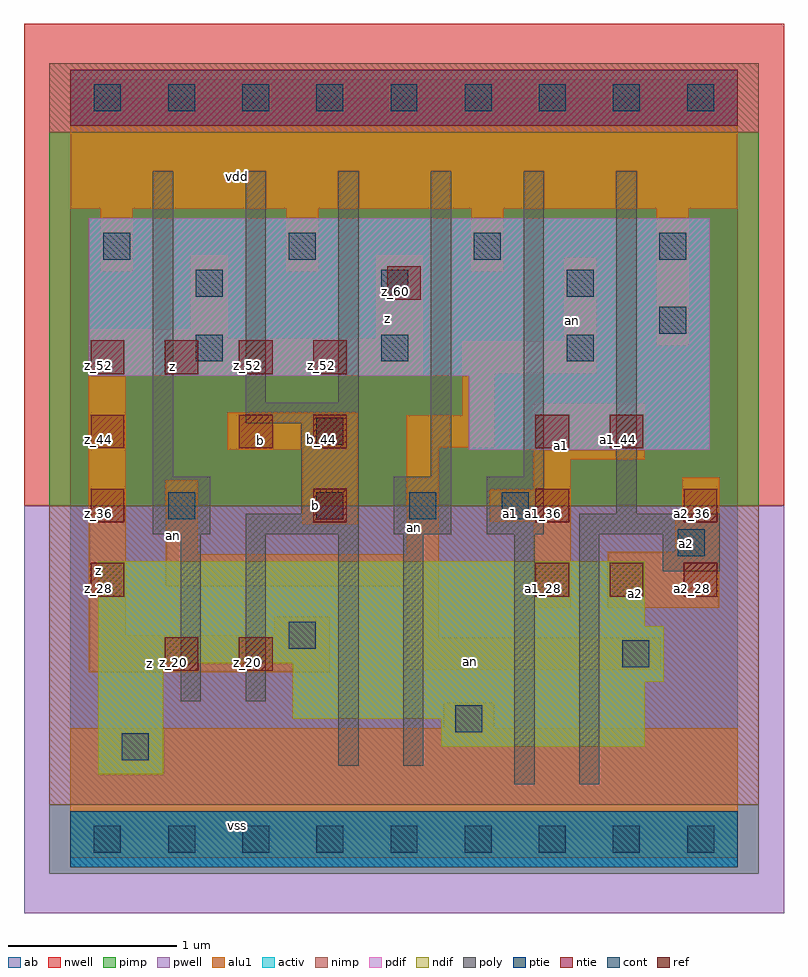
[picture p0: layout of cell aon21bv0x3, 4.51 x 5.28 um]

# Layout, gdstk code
import gdstk
lib = gdstk.Library(unit=1e-6, precision=2.5e-09)
def R(c, l, rs):  # rectangles x0, y0, x1, y1
    for r in rs: c.add(gdstk.rectangle(r[:2], r[2:], *l))
def A(c, l, x, y, w, h, nx, ny, dx, dy):  # array of equal rectangles
    R(c, l, [(x+i*dx, y+j*dy, x+i*dx+w, y+j*dy+h) for i in range(nx) for j in range(ny)])
ndif = (3, 0)
pdif = (4, 0)
ntie = (5, 0)
ptie = (6, 0)
ref = (24, 0)
cont = (25, 0)
pwell = (41, 0)
nwell = (42, 0)
activ = (43, 0)
pimp = (44, 0)
nimp = (45, 0)
poly = (46, 0)
alu1 = (49, 0)
ab = (63, 0)

aon21bv0x3 = lib.new_cell('aon21bv0x3')
R(aon21bv0x3, ndif, [(0.165,0.385,0.55,1.045), (2.2,0.55,3.41,0.715), (1.32,0.715,3.41,0.935), (1.32,0.935,3.52,1.045), (0.165,1.045,3.52,1.265), (0.165,1.265,3.41,1.65)])
R(aon21bv0x3, pdif, [(2.365,2.31,3.795,2.75), (0.11,2.75,3.795,3.685)])
R(aon21bv0x3, ntie, [(0,4.235,3.96,4.565)])
R(aon21bv0x3, ptie, [(0,-0.165,3.96,0.165)])
A(aon21bv0x3, ref, 2.76, 1.44, 0.2, 0.2, 3, 1, 0.44, 0)
A(aon21bv0x3, ref, 0.12, 1.88, 0.2, 0.2, 3, 1, 1.32, 0)
A(aon21bv0x3, ref, 0.12, 2.76, 0.2, 0.2, 4, 1, 0.44, 0)
R(aon21bv0x3, ref, [(0.56,1,0.76,1.2), (1,1,1.2,1.2), (0.12,1.44,0.32,1.64), (3.64,1.88,3.84,2.08), (0.12,2.32,0.32,2.52), (1,2.32,1.2,2.52), (1.44,2.32,1.64,2.52), (2.76,2.32,2.96,2.52), (3.2,2.32,3.4,2.52), (1.88,3.2,2.08,3.4)])
A(aon21bv0x3, cont, 0.14, -0.08, 0.16, 0.16, 9, 2, 0.44, 4.4)
A(aon21bv0x3, cont, 1.46, 1.9, 0.16, 0.16, 3, 1, 0.55, 0)
A(aon21bv0x3, cont, 0.745, 2.835, 0.16, 0.16, 3, 2, 1.1, 0.385)
A(aon21bv0x3, cont, 0.195, 3.44, 0.16, 0.16, 4, 1, 1.1, 0)
R(aon21bv0x3, cont, [(0.305,0.47,0.465,0.63), (2.285,0.635,2.445,0.795), (3.275,1.02,3.435,1.18), (1.295,1.13,1.455,1.29), (3.605,1.68,3.765,1.84), (0.58,1.9,0.74,2.06), (1.46,2.34,1.62,2.5), (3.495,3,3.655,3.16)])
R(aon21bv0x3, pwell, [(-0.275,-0.44,4.235,1.98)])
R(aon21bv0x3, nwell, [(-0.275,1.98,4.235,4.84)])
R(aon21bv0x3, activ, [(0,-0.165,3.96,0.165), (0.165,0.385,0.55,1.045), (2.2,0.55,3.41,0.715), (1.32,0.715,3.41,0.935), (1.32,0.935,3.52,1.045), (0.165,1.045,3.52,1.265), (0.165,1.265,3.41,1.65), (2.365,2.31,3.795,2.75), (0.11,2.75,3.795,3.685), (0,4.235,3.96,4.565)])
R(aon21bv0x3, pimp, [(-0.125,-0.205,4.085,0.205), (-0.125,1.98,4.085,4.195)])
R(aon21bv0x3, nimp, [(-0.125,0.205,4.085,1.98), (-0.125,4.195,4.085,4.605)])
R(aon21bv0x3, poly, [(2.635,0.325,2.755,1.81), (3.02,0.325,3.14,1.81), (1.59,0.435,1.71,1.81), (1.975,0.435,2.095,1.81), (0.655,0.82,0.775,1.81), (1.04,0.82,1.16,1.81), (3.515,1.59,3.855,1.81), (0.49,1.81,0.83,2.15), (1.04,1.81,1.71,1.93), (1.92,1.81,2.26,2.15), (2.47,1.81,2.81,2.15), (3.02,1.81,3.855,1.93), (1.37,1.93,1.71,2.47), (3.24,1.93,3.36,3.965), (0.49,2.15,0.61,3.965), (2.14,2.15,2.26,3.965), (2.69,2.15,2.81,3.965), (1.04,2.47,1.71,2.59), (1.04,2.59,1.16,3.965), (1.59,2.59,1.71,3.965)])
A(aon21bv0x3, alu1, 0.18, 3.37, 0.19, 0.37, 3, 1, 1.1, 0)
R(aon21bv0x3, alu1, [(0,-0.11,3.96,0.66), (2.215,0.66,2.515,0.81), (0.11,0.99,1.54,1.21), (1.995,1.005,3.505,1.195), (1.995,1.195,2.185,1.5), (0.11,1.21,0.33,2.75), (1.21,1.21,1.54,1.32), (2.75,1.375,2.97,1.885), (3.19,1.375,3.85,1.705), (0.565,1.5,2.185,1.69), (0.565,1.69,0.755,2.13), (1.995,1.69,2.185,2.325), (3.59,1.705,3.85,1.91), (1.375,1.87,1.705,2.31), (2.49,1.885,2.97,2.075), (3.63,1.91,3.85,2.145), (2.75,2.075,2.97,2.255), (2.75,2.255,3.41,2.585), (0.935,2.31,1.705,2.53), (1.995,2.325,2.515,2.515), (2.325,2.515,2.515,2.765), (0.11,2.75,2.09,2.97), (2.325,2.765,3.12,2.955), (3.48,2.93,3.67,3.74), (2.93,2.955,3.12,3.45), (0.11,2.97,0.935,3.025), (1.815,2.97,2.09,3.465), (0.715,3.025,0.935,3.465), (0,3.74,3.96,4.51)])
R(aon21bv0x3, ab, [(0,0,3.96,4.4)])
aon21bv0x3.add(gdstk.Label('vss', (0.99,0.0825), layer=49, texttype=0))
aon21bv0x3.add(gdstk.Label('an', (2.3725,1.0525), layer=49, texttype=0))
aon21bv0x3.add(gdstk.Label('a2', (3.355,1.4575), layer=49, texttype=0))
aon21bv0x3.add(gdstk.Label('a2', (3.655,1.755), layer=49, texttype=0))
aon21bv0x3.add(gdstk.Label('z', (0.4675,1.045), layer=49, texttype=0))
aon21bv0x3.add(gdstk.Label('a1', (2.61,1.9325), layer=49, texttype=0))
aon21bv0x3.add(gdstk.Label('a1', (2.915,2.3375), layer=49, texttype=0))
aon21bv0x3.add(gdstk.Label('an', (2.0425,1.8475), layer=49, texttype=0))
aon21bv0x3.add(gdstk.Label('b', (1.4575,1.98), layer=49, texttype=0))
aon21bv0x3.add(gdstk.Label('an', (0.6125,1.8), layer=49, texttype=0))
aon21bv0x3.add(gdstk.Label('b', (1.1275,2.365), layer=49, texttype=0))
aon21bv0x3.add(gdstk.Label('z', (0.165,1.595), layer=49, texttype=0))
aon21bv0x3.add(gdstk.Label('an', (2.9775,3.0775), layer=49, texttype=0))
aon21bv0x3.add(gdstk.Label('z', (0.605,2.805), layer=49, texttype=0))
aon21bv0x3.add(gdstk.Label('z', (1.8825,3.0925), layer=49, texttype=0))
aon21bv0x3.add(gdstk.Label('vdd', (0.99,3.9325), layer=49, texttype=0))
aon21bv0x3.add(gdstk.Label('z_20', (0.61,1.05), layer=24, texttype=0))
aon21bv0x3.add(gdstk.Label('z_52', (0.61,2.81), layer=24, texttype=0))
aon21bv0x3.add(gdstk.Label('z_20', (1.05,1.05), layer=24, texttype=0))
aon21bv0x3.add(gdstk.Label('b_44', (1.05,2.37), layer=24, texttype=0))
aon21bv0x3.add(gdstk.Label('z_52', (1.05,2.81), layer=24, texttype=0))
aon21bv0x3.add(gdstk.Label('b_36', (1.49,1.93), layer=24, texttype=0))
aon21bv0x3.add(gdstk.Label('b_44', (1.49,2.37), layer=24, texttype=0))
aon21bv0x3.add(gdstk.Label('z_52', (1.49,2.81), layer=24, texttype=0))
aon21bv0x3.add(gdstk.Label('z_60', (1.93,3.25), layer=24, texttype=0))
aon21bv0x3.add(gdstk.Label('z_28', (0.17,1.49), layer=24, texttype=0))
aon21bv0x3.add(gdstk.Label('z_36', (0.17,1.93), layer=24, texttype=0))
aon21bv0x3.add(gdstk.Label('z_44', (0.17,2.37), layer=24, texttype=0))
aon21bv0x3.add(gdstk.Label('z_52', (0.17,2.81), layer=24, texttype=0))
aon21bv0x3.add(gdstk.Label('a1_28', (2.81,1.49), layer=24, texttype=0))
aon21bv0x3.add(gdstk.Label('a1_36', (2.81,1.93), layer=24, texttype=0))
aon21bv0x3.add(gdstk.Label('a1_44', (2.81,2.37), layer=24, texttype=0))
aon21bv0x3.add(gdstk.Label('a2_28', (3.25,1.49), layer=24, texttype=0))
aon21bv0x3.add(gdstk.Label('a1_44', (3.25,2.37), layer=24, texttype=0))
aon21bv0x3.add(gdstk.Label('a2_28', (3.69,1.49), layer=24, texttype=0))
aon21bv0x3.add(gdstk.Label('a2_36', (3.69,1.93), layer=24, texttype=0))

lib.write_gds('aon21bv0x3.gds')
